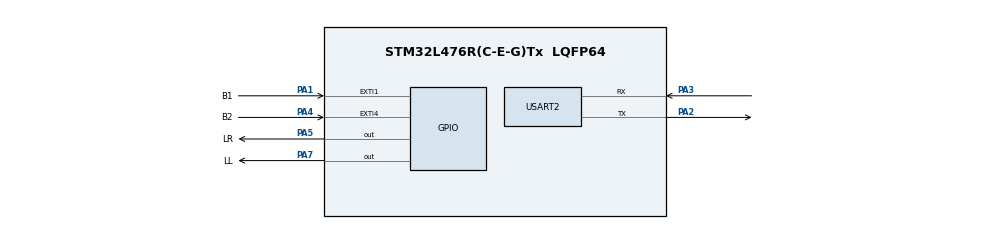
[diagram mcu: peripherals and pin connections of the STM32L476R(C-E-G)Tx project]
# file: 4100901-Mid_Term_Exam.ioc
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Mcu.Family=STM32L4
Mcu.Name=STM32L476R(C-E-G)Tx
Mcu.Package=LQFP64
NVIC.EXTI1_IRQn=true\:0\:0\:false\:false\:true\:true\:true\:true
NVIC.EXTI4_IRQn=true\:0\:0\:false\:false\:true\:true\:true\:true
NVIC.PriorityGroup=NVIC_PRIORITYGROUP_4
PA1.GPIO_Label=B1
PA1.Signal=GPXTI1
PA2.Mode=Asynchronous
PA2.Signal=USART2_TX
PA3.Mode=Asynchronous
PA3.Signal=USART2_RX
PA4.GPIO_Label=B2
PA4.Signal=GPXTI4
PA5.GPIO_Label=LR
PA5.Signal=GPIO_Output
PA7.GPIO_Label=LL
PA7.Signal=GPIO_Output
ProjectManager.HeapSize=0x200
ProjectManager.StackSize=0x400
ProjectManager.TargetToolchain=STM32CubeIDE
RCC.HSE_VALUE=8000000
RCC.HSI_VALUE=16000000
RCC.LSE_VALUE=32768
RCC.MSI_VALUE=4000000
RCC.VCOOutputFreq_Value=32000000
USART2.VirtualMode-Asynchronous=VM_ASYNC
board=custom

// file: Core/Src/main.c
/* USER CODE BEGIN Header */
/**
  ******************************************************************************
  * @file           : main.c
  * @brief          : Main program body
  ******************************************************************************
  * @attention
  *
  * Copyright (c) 2024 STMicroelectronics.
  * All rights reserved.
  *
  * This software is licensed under terms that can be found in the LICENSE file
  * in the root directory of this software component.
  * If no LICENSE file comes with this software, it is provided AS-IS.
  *
  ******************************************************************************
  */
/* USER CODE END Header */
#include "main.h"

UART_HandleTypeDef huart2;

/* USER CODE BEGIN PV */
//variables to setting number of blinks
uint32_t left_toggles = 0;
uint32_t right_toggles = 0;
// variables to let every function work
uint32_t left_on = 0;
uint32_t right_on = 0;
//variables to save last register of press buttons.
uint32_t left_last_press_tick = 0;
uint32_t right_last_press_tick = 0;
/* USER CODE END PV */

void SystemClock_Config(void);
static void MX_GPIO_Init(void);
static void MX_USART2_UART_Init(void);

/* USER CODE BEGIN 0 */
void HAL_GPIO_EXTI_Callback(uint16_t GPIO_Pin)
{
	//turn left button settings
	if (GPIO_Pin == B1_Pin) {
		left_on = 1 ;
		if (HAL_GetTick() < (left_last_press_tick + 500)) { // if last press was in the last 500ms
			left_toggles = 0xFFFFFF; // a long time toggling (infinite)
		} else{
			left_toggles = 6; // Blink 3 times
		}
		left_last_press_tick = HAL_GetTick();
		// for deactivate left button if it's active
		} else if (GPIO_Pin == B2_Pin) {
			left_on = 0;
			left_toggles = 0;
	    }

	//turn right button settings
	if (GPIO_Pin == B2_Pin) {
		right_on = 1 ;
		if(HAL_GetTick() < (right_last_press_tick + 500)){ // if last press was in the last 500ms
			right_toggles = 0xFFFFFF; // a long time toggling (infinite)
		}else{
			right_toggles = 6; // Blink 3 times
		}
		right_last_press_tick = HAL_GetTick();
		// for deactivate right button if it´s active
		} else if (GPIO_Pin == B1_Pin) {
			right_on = 0;
			right_toggles = 0;
	}
}

// //LED setting for left turn signal (time and function depending on conditions)
void turn_signal_left(void)
{
	static uint32_t turn_toggle_tick = 0;
	if (turn_toggle_tick < HAL_GetTick()) {
		if (left_toggles > 0) {
			turn_toggle_tick = HAL_GetTick() + 1000; //time of blinking (2Hz)
			HAL_GPIO_TogglePin(LL_GPIO_Port, LL_Pin);
			left_toggles--;
		} else {
			HAL_GPIO_WritePin(LL_GPIO_Port, LL_Pin, 1);
		}

	}
}

//LED setting for right turn signal (time and function depending on conditions)
void turn_signal_right(void)
	{
		static uint32_t turn_toggle_tick = 0;
		if (turn_toggle_tick < HAL_GetTick()) {
			if (right_toggles > 0) {
				turn_toggle_tick = HAL_GetTick() + 1000; //time of blinking
				HAL_GPIO_TogglePin(LR_GPIO_Port, LR_Pin);
				right_toggles--;
			} else {
				HAL_GPIO_WritePin(LR_GPIO_Port, LR_Pin, 1);
			}

		}
}
/* USER CODE END 0 */

int main(void)
{

  /* MCU Configuration--------------------------------------------------------*/

  /* Reset of all peripherals, Initializes the Flash interface and the Systick. */
  HAL_Init();

  /* Configure the system clock */
  SystemClock_Config();

  /* Initialize all configured peripherals */
  MX_GPIO_Init();
  MX_USART2_UART_Init();

  /* Infinite loop */
  while (1)
  {

    /* USER CODE BEGIN 3 */
	  // code to do work the function called + the messages to send to the UART (for left signal)
	  if (left_on == 1){
		  HAL_UART_Transmit(&huart2,"Left Turn Signal On\r\n", 21, 50);
	      turn_signal_left();
		  if (left_toggles == 0xFFFFFF){
			  HAL_UART_Transmit(&huart2,"Led Blinking infinitely\r\n", 25, 50);
		  } else{
			  HAL_UART_Transmit(&huart2,"Led Blinking 3 times\r\n", 21, 50);
		  }
	   } else if (left_on == 0){
		  left_toggles = 0;
		  }
	  // code to do work the function called + the messages to send to the UART (for left signal)
	  if (right_on == 1){
		  HAL_UART_Transmit(&huart2,"Right Turn Signal On\r\n", 22, 50);
		  turn_signal_right();
		  if (right_toggles == 0xFFFFFF){
			  HAL_UART_Transmit(&huart2,"Led Blinking infinitely\r\n",25,50);
		  } else{
			  HAL_UART_Transmit(&huart2,"Led Blinking 3 times\r\n",21,50);
		  }
	   } else if (right_on == 0){
     	  right_toggles = 0;
      }

	 // #3

  }
  /* USER CODE END 3 */
}

void SystemClock_Config(void)
{
  RCC_OscInitTypeDef RCC_OscInitStruct = {0};
  RCC_ClkInitTypeDef RCC_ClkInitStruct = {0};

  /** Configure the main internal regulator output voltage
  */
  if (HAL_PWREx_ControlVoltageScaling(PWR_REGULATOR_VOLTAGE_SCALE1) != HAL_OK)
  {
    Error_Handler();
  }

  /** Initializes the RCC Oscillators according to the specified parameters
  * in the RCC_OscInitTypeDef structure.
  */
  RCC_OscInitStruct.OscillatorType = RCC_OSCILLATORTYPE_MSI;
  RCC_OscInitStruct.MSIState = RCC_MSI_ON;
  RCC_OscInitStruct.MSICalibrationValue = 0;
  RCC_OscInitStruct.MSIClockRange = RCC_MSIRANGE_6;
  RCC_OscInitStruct.PLL.PLLState = RCC_PLL_NONE;
  if (HAL_RCC_OscConfig(&RCC_OscInitStruct) != HAL_OK)
  {
    Error_Handler();
  }

  /** Initializes the CPU, AHB and APB buses clocks
  */
  RCC_ClkInitStruct.ClockType = RCC_CLOCKTYPE_HCLK|RCC_CLOCKTYPE_SYSCLK
                              |RCC_CLOCKTYPE_PCLK1|RCC_CLOCKTYPE_PCLK2;
  RCC_ClkInitStruct.SYSCLKSource = RCC_SYSCLKSOURCE_MSI;
  RCC_ClkInitStruct.AHBCLKDivider = RCC_SYSCLK_DIV1;
  RCC_ClkInitStruct.APB1CLKDivider = RCC_HCLK_DIV1;
  RCC_ClkInitStruct.APB2CLKDivider = RCC_HCLK_DIV1;

  if (HAL_RCC_ClockConfig(&RCC_ClkInitStruct, FLASH_LATENCY_0) != HAL_OK)
  {
    Error_Handler();
  }
}

static void MX_USART2_UART_Init(void)
{

  huart2.Instance = USART2;
  huart2.Init.BaudRate = 115200;
  huart2.Init.WordLength = UART_WORDLENGTH_8B;
  huart2.Init.StopBits = UART_STOPBITS_1;
  huart2.Init.Parity = UART_PARITY_NONE;
  huart2.Init.Mode = UART_MODE_TX_RX;
  huart2.Init.HwFlowCtl = UART_HWCONTROL_NONE;
  huart2.Init.OverSampling = UART_OVERSAMPLING_16;
  huart2.Init.OneBitSampling = UART_ONE_BIT_SAMPLE_DISABLE;
  huart2.AdvancedInit.AdvFeatureInit = UART_ADVFEATURE_NO_INIT;
  if (HAL_UART_Init(&huart2) != HAL_OK)
  {
    Error_Handler();
  }

}

static void MX_GPIO_Init(void)
{
  GPIO_InitTypeDef GPIO_InitStruct = {0};

  /* GPIO Ports Clock Enable */
  __HAL_RCC_GPIOA_CLK_ENABLE();

  /*Configure GPIO pin Output Level */
  HAL_GPIO_WritePin(GPIOA, LR_Pin|LL_Pin, GPIO_PIN_RESET);

  /*Configure GPIO pins : B1_Pin B2_Pin */
  GPIO_InitStruct.Pin = B1_Pin|B2_Pin;
  GPIO_InitStruct.Mode = GPIO_MODE_IT_RISING;
  GPIO_InitStruct.Pull = GPIO_NOPULL;
  HAL_GPIO_Init(GPIOA, &GPIO_InitStruct);

  /*Configure GPIO pins : LR_Pin LL_Pin */
  GPIO_InitStruct.Pin = LR_Pin|LL_Pin;
  GPIO_InitStruct.Mode = GPIO_MODE_OUTPUT_PP;
  GPIO_InitStruct.Pull = GPIO_NOPULL;
  GPIO_InitStruct.Speed = GPIO_SPEED_FREQ_LOW;
  HAL_GPIO_Init(GPIOA, &GPIO_InitStruct);

  /* EXTI interrupt init*/
  HAL_NVIC_SetPriority(EXTI1_IRQn, 0, 0);
  HAL_NVIC_EnableIRQ(EXTI1_IRQn);

  HAL_NVIC_SetPriority(EXTI4_IRQn, 0, 0);
  HAL_NVIC_EnableIRQ(EXTI4_IRQn);

}

void Error_Handler(void)
{
  __disable_irq();
  while (1)
  {
  }
}
